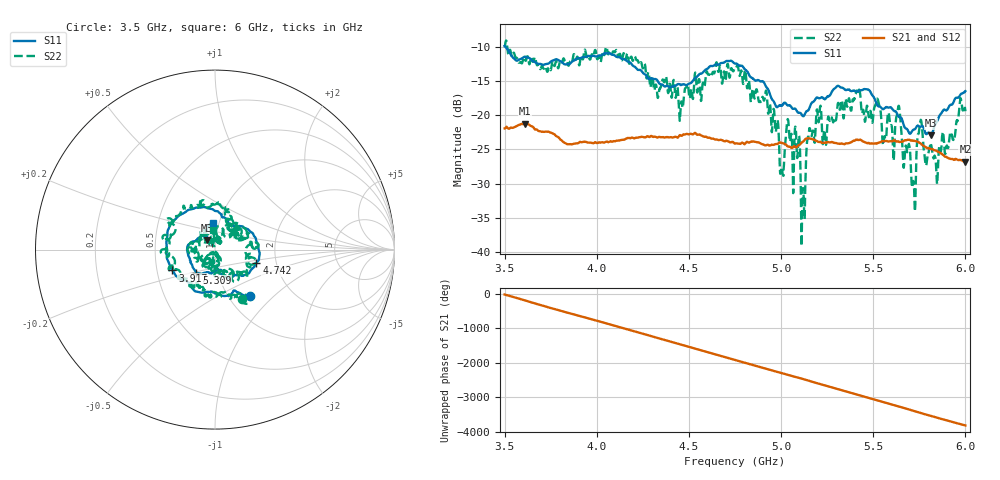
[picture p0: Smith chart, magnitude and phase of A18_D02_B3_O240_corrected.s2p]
! Created with skrf 1.9.0 (http://scikit-rf.org).
# Hz S RI R 50.0
!freq ReS11 ImS11 ReS21 ImS21 ReS12 ImS12 ReS22 ImS22
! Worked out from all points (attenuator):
!   1601 points, 3.5 GHz to 6 GHz, reference 50 ohm
!   highest |S21| = -21.23 dB at 3.611 GHz (marker M1); lowest = -26.8 dB at 6 GHz (marker M2)
!   lowest |S11| = -22.9 dB at 5.814 GHz (marker M3), VSWR 1.15, Z = 45.2 + j4.88 ohm
!   |S11| at or under -10 dB: 3.504 GHz to end of sweep
!   |S22| runs from -39.2 to -9.0 dB; largest |S21 - S12| = 0.001
!   S11 on the Smith chart (normalised r, x): 3.5 GHz: 1.25, -0.72; 3.917 GHz: 0.60, -0.15; 4.742 GHz: 1.58, -0.25; 5.309 GHz: 0.79, -0.21; 6 GHz: 0.94, +0.29
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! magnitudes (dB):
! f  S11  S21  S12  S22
! 3.5 GHz  -9.9  -21.9  -21.9  -10.1
! 3.611 GHz  -11.4  -21.2  -21.2  -11.9
! 3.917 GHz  -11.6  -23.9  -23.9  -11.3
! 4.211 GHz  -13.0  -23.3  -23.3  -11.6
! 4.334 GHz  -15.2  -23.2  -23.1  -17.1
! 4.458 GHz  -15.6  -23.0  -22.9  -18.2
! 4.742 GHz  -12.3  -24.0  -24.0  -13.5
! 4.75 GHz  -12.4  -24.1  -24.1  -13.1
! 4.927 GHz  -16.1  -24.3  -24.3  -18.6
! 5.005 GHz  -18.5  -24.0  -24.1  -27.6
! 5.033 GHz  -18.5  -24.5  -24.4  -21.0
! 5.088 GHz  -19.5  -24.6  -24.6  -26.3
! 5.119 GHz  -20.1  -23.9  -23.8  -30.6
! 5.147 GHz  -19.3  -23.4  -23.4  -23.2
! 5.167 GHz  -18.1  -23.5  -23.4  -22.9
! 5.309 GHz  -15.7  -24.1  -24.1  -18.2
! 5.584 GHz  -18.9  -23.8  -23.8  -19.6
! 5.639 GHz  -20.2  -23.9  -23.8  -18.6
! 5.719 GHz  -22.1  -23.7  -23.7  -29.8
! 5.752 GHz  -21.7  -24.0  -24.0  -21.6
! 5.814 GHz  -22.9  -25.0  -24.9  -24.3
! 6 GHz  -16.5  -26.8  -26.7  -19.4
